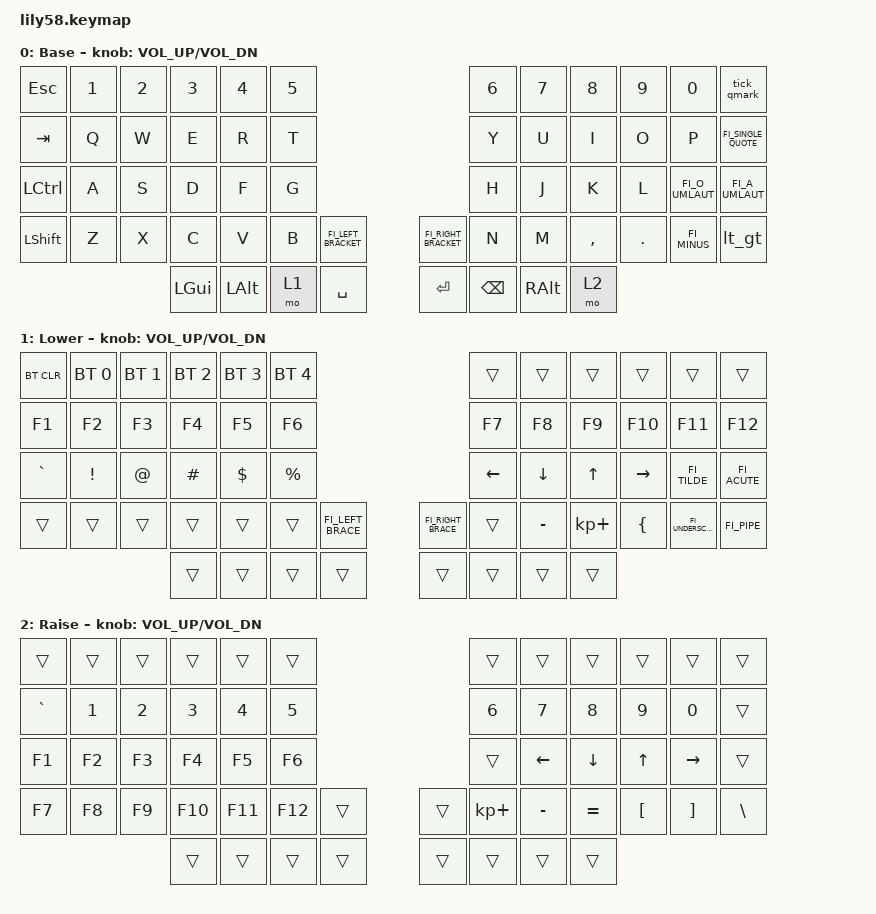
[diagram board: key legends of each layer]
/*
 * Copyright (c) 2020 The ZMK Contributors
 *
 * SPDX-License-Identifier: MIT
 */

#include <dt-bindings/zmk/modifiers.h>
#include <behaviors.dtsi>
#include <dt-bindings/zmk/bt.h>
#include <dt-bindings/zmk/keys.h>
#include "keys_fi.h"

/ {
    behaviors {
        lt_gt: lt_gt {
            compatible = "zmk,behavior-mod-morph";
            #binding-cells = <0>;
            bindings = <&kp FI_LESS_THAN>, <&kp FI_GREATER_THAN>;

            mods = <(MOD_LSFT)>;
        };

        tick_qmark: tick_qmark {
            compatible = "zmk,behavior-mod-morph";
            #binding-cells = <0>;
            bindings = <&kp FI_SINGLE_QUOTE>, <&kp FI_QUESTION>;

            mods = <MOD_LSFT>;
        };
    };
};

/ {
    keymap {
        compatible = "zmk,keymap";

        default_layer {
            // ------------------------------------------------------------------------------------------------------------
            // |  ESC  |  1  |  2  |  3   |  4   |  5   |                   |  6   |  7    |  8    |  9   |   0   |   `   |
            // |  TAB  |  Q  |  W  |  E   |  R   |  T   |                   |  Y   |  U    |  I    |  O   |   P   |   -   |
            // |  CTRL |  A  |  S  |  D   |  F   |  G   |                   |  H   |  J    |  K    |  L   |   ;   |   '   |
            // | SHIFT |  Z  |  X  |  C   |  V   |  B   |   "["  |  |  "]"  |  N   |  M    |  ,    |  .   |   /   | SHIFT |
            //                     | ALT  | GUI  | LOWER|  SPACE |  | ENTER | RAISE| BSPC  | GUI   |

            display-name = "Base";
            bindings = <
&kp ESC    &kp N1  &kp N2  &kp N3    &kp N4        &kp N5                                               &kp N6         &kp N7         &kp N8     &kp N9   &kp N0           &tick_qmark
&kp TAB    &kp Q   &kp W   &kp E     &kp R         &kp T                                                &kp Y          &kp U          &kp I      &kp O    &kp P            &kp FI_SINGLE_QUOTE
&kp LCTRL  &kp A   &kp S   &kp D     &kp F         &kp G                                                &kp H          &kp J          &kp K      &kp L    &kp FI_O_UMLAUT  &kp FI_A_UMLAUT
&kp LSHFT  &kp Z   &kp X   &kp C     &kp V         &kp B   &kp FI_LEFT_BRACKET    &kp FI_RIGHT_BRACKET  &kp N          &kp M          &kp COMMA  &kp DOT  &kp FI_MINUS     &lt_gt
                           &kp LGUI  &kp LEFT_ALT  &mo 1   &kp SPACE              &kp RET               &kp BACKSPACE  &kp RIGHT_ALT  &mo 2
            >;

            sensor-bindings = <&inc_dec_kp C_VOL_UP C_VOL_DN>;
        };

        lower_layer {
            // ------------------------------------------------------------------------------------------------------------
            // | BTCLR | BT1 | BT2 |  BT3 |  BT4 |  BT5 |                   |      |       |       |      |       |       |
            // |  F1   |  F2 |  F3 |  F4  |  F5  |  F6  |                   |  F7  |  F8   |  F9   |  F10 |  F11  |  F12  |
            // |   `   |  !  |  @  |  #   |  $   |  %   |                   |  ^   |  &    |  *    |  (   |   )   |   ~   |
            // |       |     |     |      |      |      |        |  |       |      |  _    |  +    |  {   |   }   |  "|"  |
            //                     |      |      |      |        |  |       |      |       |       |

            display-name = "Lower";
            bindings = <
&bt BT_CLR  &bt BT_SEL 0  &bt BT_SEL 1  &bt BT_SEL 2  &bt BT_SEL 3  &bt BT_SEL 4                                           &trans          &trans          &trans        &trans           &trans             &trans
&kp F1      &kp F2        &kp F3        &kp F4        &kp F5        &kp F6                                                 &kp F7          &kp F8          &kp F9        &kp F10          &kp F11            &kp F12
&kp GRAVE   &kp EXCL      &kp AT        &kp HASH      &kp DOLLAR    &kp PRCNT                                              &kp LEFT_ARROW  &kp DOWN_ARROW  &kp UP_ARROW  &kp RIGHT_ARROW  &kp FI_TILDE       &kp FI_ACUTE
&trans      &trans        &trans        &trans        &trans        &trans        &kp FI_LEFT_BRACE    &kp FI_RIGHT_BRACE  &trans          &kp MINUS       &kp KP_PLUS   &kp LBRC         &kp FI_UNDERSCORE  &kp FI_PIPE
                                        &trans        &trans        &trans        &trans               &trans              &trans          &trans          &trans
            >;

            sensor-bindings = <&inc_dec_kp C_VOL_UP C_VOL_DN>;
        };

        raise_layer {
            // ------------------------------------------------------------------------------------------------------------
            // |       |     |     |      |      |      |                   |      |       |       |      |       |       |
            // |   `   |  1  |  2  |  3   |  4   |  5   |                   |  6   |   7   |   8   |  9   |   0   |       |
            // |   F1  |  F2 |  F3 |  F4  |  F5  |  F6  |                   |      |   <-  |   v   |  ^   |  ->   |       |
            // |   F7  |  F8 |  F9 |  F10 |  F11 |  F12 |        |  |       |  +   |   -   |   =   |  [   |   ]   |   \   |
            //                     |      |      |      |        |  |       |      |       |       |

            display-name = "Raise";
            bindings = <
&trans     &trans  &trans  &trans   &trans   &trans                     &trans       &trans     &trans     &trans    &trans     &trans
&kp GRAVE  &kp N1  &kp N2  &kp N3   &kp N4   &kp N5                     &kp N6       &kp N7     &kp N8     &kp N9    &kp N0     &trans
&kp F1     &kp F2  &kp F3  &kp F4   &kp F5   &kp F6                     &trans       &kp LEFT   &kp DOWN   &kp UP    &kp RIGHT  &trans
&kp F7     &kp F8  &kp F9  &kp F10  &kp F11  &kp F12  &trans    &trans  &kp KP_PLUS  &kp MINUS  &kp EQUAL  &kp LBKT  &kp RBKT   &kp BSLH
                           &trans   &trans   &trans   &trans    &trans  &trans       &trans     &trans
            >;

            sensor-bindings = <&inc_dec_kp C_VOL_UP C_VOL_DN>;
        };

        extra_1 { status = "reserved"; };

        extra_2 { status = "reserved"; };

        extra_3 { status = "reserved"; };
    };
};
